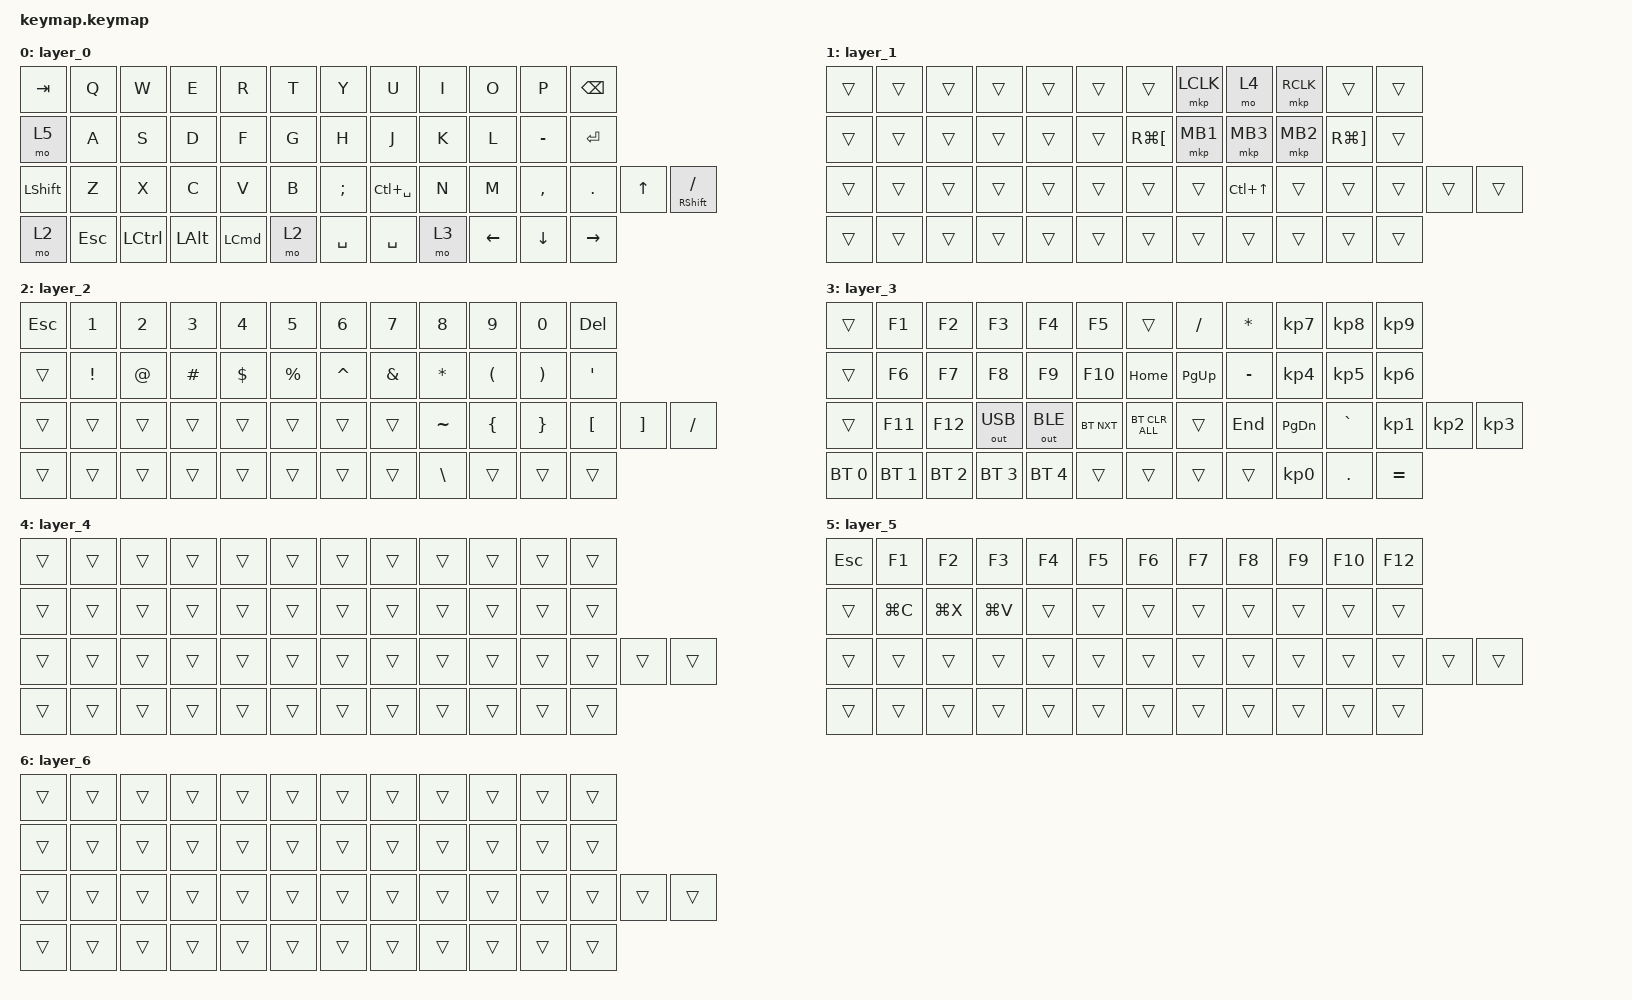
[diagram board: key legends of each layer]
#include <behaviors.dtsi>
#include <dt-bindings/zmk/bt.h>
#include <dt-bindings/zmk/keys.h>
#include <dt-bindings/zmk/outputs.h>
#include <dt-bindings/zmk/pointing.h>

/ {
    combos {
        compatible = "zmk,combos";

        bt_clear {
            bindings = <&bt BT_CLR>;
            key-positions = <28 29>;
            layers = <2>;
        };
    };

    keymap {
        compatible = "zmk,keymap";

        layer_0 {
            bindings = <
&kp TAB    &kp Q       &kp W             &kp E     &kp R             &kp T  &kp Y          &kp U          &kp I  &kp O           &kp P           &kp BSPC
&mo 5      &kp A       &kp S             &kp D     &kp F             &kp G  &kp H          &kp J          &kp K  &kp L           &kp MINUS       &kp ENTER
&kp LSHFT  &kp Z       &kp X             &kp C     &kp V             &kp B  &kp SEMICOLON  &kp LC(SPACE)  &kp N  &kp M           &kp COMMA       &kp DOT          &kp UP_ARROW  &mt RSHFT SLASH
&mo 2      &kp ESCAPE  &kp LEFT_CONTROL  &kp LALT  &kp LEFT_COMMAND  &mo 2  &kp SPACE      &kp SPACE      &mo 3  &kp LEFT_ARROW  &kp DOWN_ARROW  &kp RIGHT_ARROW
            >;
        };

        layer_1 {
            bindings = <
&trans  &trans  &trans  &trans  &trans  &trans  &trans                &mkp LCLK  &mo 4             &mkp RCLK  &trans                 &trans
&trans  &trans  &trans  &trans  &trans  &trans  &kp RG(LEFT_BRACKET)  &mkp MB1   &mkp MB3          &mkp MB2   &kp RG(RIGHT_BRACKET)  &trans
&trans  &trans  &trans  &trans  &trans  &trans  &trans                &trans     &kp LC(UP_ARROW)  &trans     &trans                 &trans  &trans  &trans
&trans  &trans  &trans  &trans  &trans  &trans  &trans                &trans     &trans            &trans     &trans                 &trans
            >;
        };

        layer_2 {
            bindings = <
&kp ESCAPE  &kp N1    &kp N2  &kp N3    &kp N4      &kp N5     &kp N6     &kp N7         &kp N8         &kp N9                &kp N0                 &kp DELETE
&trans      &kp EXCL  &kp AT  &kp HASH  &kp DOLLAR  &kp PRCNT  &kp CARET  &kp AMPERSAND  &kp ASTRK      &kp LEFT_PARENTHESIS  &kp RIGHT_PARENTHESIS  &kp SINGLE_QUOTE
&trans      &trans    &trans  &trans    &trans      &trans     &trans     &trans         &kp TILDE      &kp LEFT_BRACE        &kp RIGHT_BRACE        &kp LEFT_BRACKET  &kp RIGHT_BRACKET  &kp SLASH
&trans      &trans    &trans  &trans    &trans      &trans     &trans     &trans         &kp BACKSLASH  &trans                &trans                 &trans
            >;
        };

        layer_3 {
            bindings = <
&trans        &kp F1        &kp F2        &kp F3        &kp F4        &kp F5      &trans          &kp FSLH     &kp ASTRK  &kp KP_NUMBER_7  &kp KP_NUMBER_8  &kp KP_NUMBER_9
&trans        &kp F6        &kp F7        &kp F8        &kp F9        &kp F10     &kp HOME        &kp PAGE_UP  &kp MINUS  &kp KP_NUMBER_4  &kp KP_NUMBER_5  &kp KP_NUMBER_6
&trans        &kp F11       &kp F12       &out OUT_USB  &out OUT_BLE  &bt BT_NXT  &bt BT_CLR_ALL  &trans       &kp END    &kp PAGE_DOWN    &kp GRAVE        &kp KP_NUMBER_1  &kp KP_NUMBER_2  &kp KP_NUMBER_3
&bt BT_SEL 0  &bt BT_SEL 1  &bt BT_SEL 2  &bt BT_SEL 3  &bt BT_SEL 4  &trans      &trans          &trans       &trans     &kp KP_NUMBER_0  &kp DOT          &kp EQUAL
            >;
        };

        layer_4 {
            bindings = <
&trans  &trans  &trans  &trans  &trans  &trans  &trans  &trans  &trans  &trans  &trans  &trans
&trans  &trans  &trans  &trans  &trans  &trans  &trans  &trans  &trans  &trans  &trans  &trans
&trans  &trans  &trans  &trans  &trans  &trans  &trans  &trans  &trans  &trans  &trans  &trans  &trans  &trans
&trans  &trans  &trans  &trans  &trans  &trans  &trans  &trans  &trans  &trans  &trans  &trans
            >;
        };

        layer_5 {
            bindings = <
&kp ESC  &kp F1     &kp F2     &kp F3     &kp F4  &kp F5  &kp F6  &kp F7  &kp F8  &kp F9  &kp F10  &kp F12
&trans   &kp LG(C)  &kp LG(X)  &kp LG(V)  &trans  &trans  &trans  &trans  &trans  &trans  &trans   &trans
&trans   &trans     &trans     &trans     &trans  &trans  &trans  &trans  &trans  &trans  &trans   &trans   &trans  &trans
&trans   &trans     &trans     &trans     &trans  &trans  &trans  &trans  &trans  &trans  &trans   &trans
            >;
        };

        layer_6 {
            bindings = <
&trans  &trans  &trans  &trans  &trans  &trans  &trans  &trans  &trans  &trans  &trans  &trans
&trans  &trans  &trans  &trans  &trans  &trans  &trans  &trans  &trans  &trans  &trans  &trans
&trans  &trans  &trans  &trans  &trans  &trans  &trans  &trans  &trans  &trans  &trans  &trans  &trans  &trans
&trans  &trans  &trans  &trans  &trans  &trans  &trans  &trans  &trans  &trans  &trans  &trans
            >;
        };
    };
};
